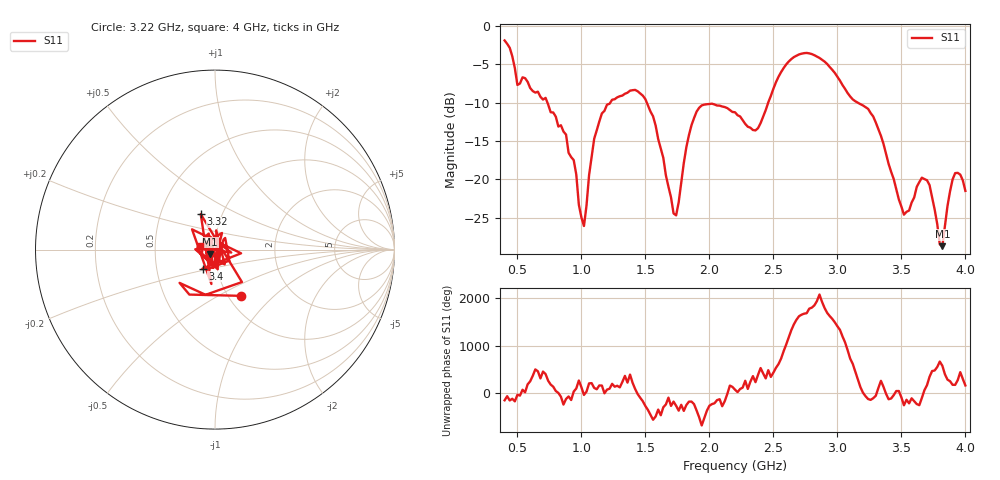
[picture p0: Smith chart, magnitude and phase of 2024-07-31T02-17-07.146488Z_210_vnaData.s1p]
!Created with skrf (http://scikit-rf.org).
# Hz S RI R 50.0
!freq ReS11 ImS11
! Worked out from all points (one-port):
!   181 points, 400 MHz to 4 GHz, reference 50 ohm
!   lowest |S11| = -28.7 dB at 3.82 GHz (marker M1), VSWR 1.08, Z = 47.3 - j2.32 ohm
!   |S11| at or under -10 dB: 734.9 MHz to 1.225 GHz (490 MHz wide, 50 % of centre); 1.512 GHz to 2.459 GHz (947.4 MHz wide, 47.7 % of centre); 3.16 GHz to end of sweep
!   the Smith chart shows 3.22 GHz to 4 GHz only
!   S11 on the Smith chart (normalised r, x): 3.22 GHz: 1.14, -0.65; 3.32 GHz: 0.79, +0.33; 3.4 GHz: 0.85, -0.18; 4 GHz: 0.85, +0.03
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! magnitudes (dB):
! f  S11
! 400 MHz  -1.9
! 500 MHz  -7.7
! 720 MHz  -9.4
! 860 MHz  -13.8
! 940 MHz  -17.5
! 1.02 GHz  -26.1
! 1.1 GHz  -14.7
! 1.3 GHz  -9.1
! 1.5 GHz  -9.5
! 1.58 GHz  -13.0
! 1.72 GHz  -24.4
! 1.76 GHz  -23.0
! 1.82 GHz  -15.8
! 1.9 GHz  -11.2
! 2.2 GHz  -11.2
! 2.38 GHz  -13.3
! 2.66 GHz  -4.0
! 2.86 GHz  -4.2
! 3.1 GHz  -9.2
! 3.22 GHz  -10.6
! 3.32 GHz  -13.4
! 3.4 GHz  -18.0
! 3.52 GHz  -24.6
! 3.56 GHz  -24.1
! 3.7 GHz  -20.1
! 3.82 GHz  -28.7
! 3.92 GHz  -19.2
! 4 GHz  -21.5
